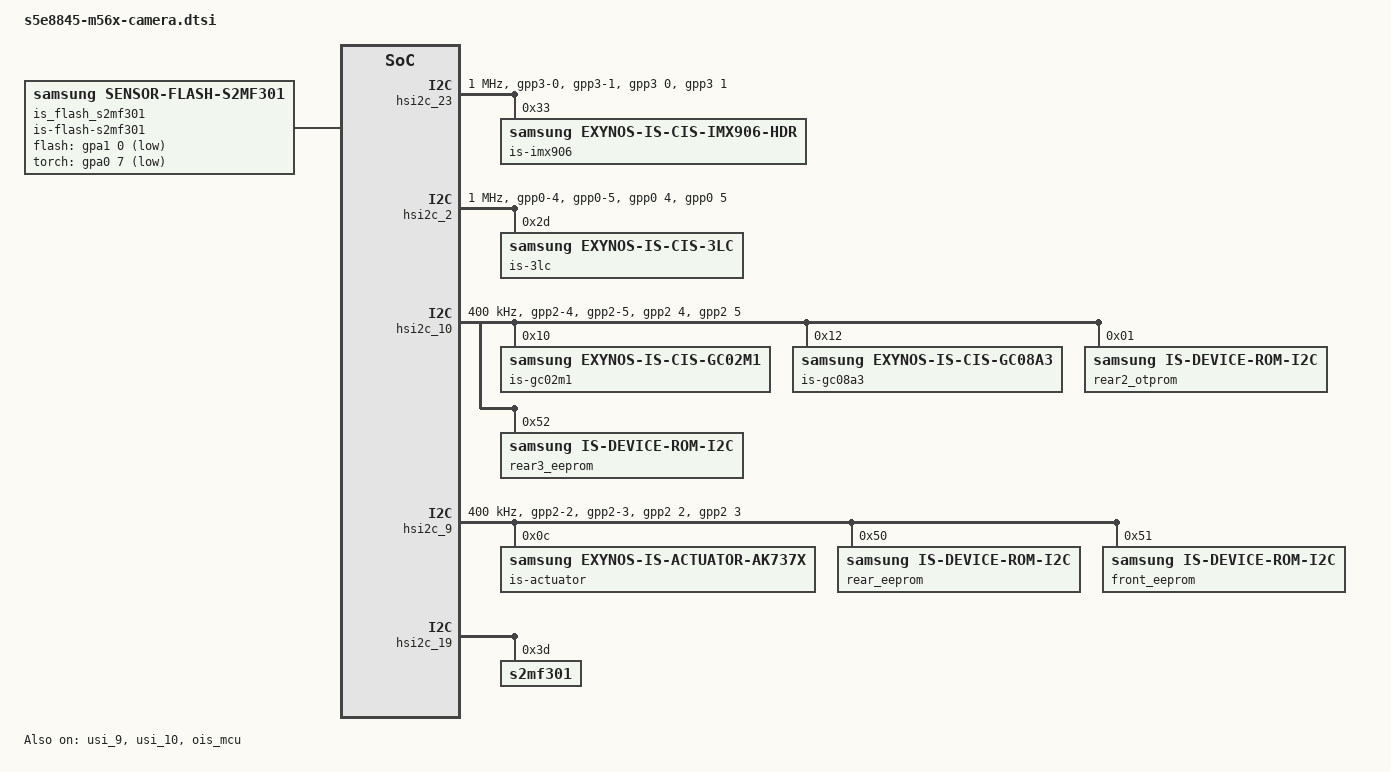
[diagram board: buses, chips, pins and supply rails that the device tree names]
/*
 * Samsung Exynos SoC series Pablo driver
 *
 * Copyright (c) 2024 Samsung Electronics Co., Ltd
 *
 * This program is free software; you can redistribute it and/or modify
 * it under the terms of the GNU General Public License version 2 as
 * published by the Free Software Foundation.
 */

#include <dt-bindings/camera/exynos_is_dt.h>
#include "module_imx906.dtsi" /* Wide CAMERA */
#include "module_3lc.dtsi" /* Front CAMERA */
#include "module_gc08a3.dtsi" /* Ultra Wide CAMERA */
#include "module_gc02m1.dtsi" /* Macro CAMERA */

/ {
	fragment@camera {
		target-path = "/";
		__overlay__ {
			#address-cells = <2>;
			#size-cells = <1>;
			interrupt-parent = <&gic>;

			/* Wide CAMERA */
			is_sensor_imx906: is_sensor_imx906@33 {
				pinning_setfile;
				power_seq {
					scenario_normal_on {
						20 { pname = "VDDIO_COMMON_1P8"; pin = <PIN_REGULATOR 1 1000>; share = <SRT_ACQUIRE SHARED_PIN0 1>;};
					};
					scenario_normal_off {
						110 { pname = "VDDIO_COMMON_1P8"; pin = <PIN_REGULATOR 0 500>; share = <SRT_RELEASE SHARED_PIN0 0>; };
					};
					scenario_vision_on {
						20 { pname = "VDDIO_COMMON_1P8"; pin = <PIN_REGULATOR 1 1000>; share = <SRT_ACQUIRE SHARED_PIN0 1>; };
					};
					scenario_vision_off {
						110 { pname = "VDDIO_COMMON_1P8"; pin = <PIN_REGULATOR 0 500>; share = <SRT_RELEASE SHARED_PIN0 0>; };
					};
					scenario_ois_factory_on {
						20 { pname = "VDDIO_COMMON_1P8"; pin = <PIN_REGULATOR 1 1000>; share = <SRT_ACQUIRE SHARED_PIN0 1>; };
					};
					scenario_ois_factory_off {
						110 { pname = "VDDIO_COMMON_1P8"; pin = <PIN_REGULATOR 0 500>; share = <SRT_RELEASE SHARED_PIN0 0>; };
					};
					scenario_read_rom_on {
						10 { pname = "VDDIO_COMMON_1P8"; pin = <PIN_REGULATOR 1 0>; share = <SRT_ACQUIRE SHARED_PIN0 1>;};
					};
					scenario_read_rom_off {
						20 { pname = "VDDIO_COMMON_1P8"; pin = <PIN_REGULATOR 0 0>; share = <SRT_RELEASE SHARED_PIN0 0>;};
					};
				};
			};

			/* FRONT CAMERA */
			is_sensor_3lc: is_sensor_3lc@5A {
				pinning_setfile;
				power_seq {
					scenario_normal_on {
						20 { pname = "VDDIO_COMMON_1P8"; pin = <PIN_REGULATOR 1 0>; share = <SRT_ACQUIRE SHARED_PIN0 1>; };
						30 { pname = "VDDA_COMMON_2P8_V"; pin = <PIN_REGULATOR 1 0>; share = <SRT_ACQUIRE SHARED_PIN1 1>;};
					};
					scenario_normal_off {
						80 { pname = "VDDA_COMMON_2P8_V"; pin = <PIN_REGULATOR 0 2000>; share = <SRT_RELEASE SHARED_PIN1 0>;};
						90 { pname = "VDDIO_COMMON_1P8"; pin = <PIN_REGULATOR 0 2000>; share = <SRT_RELEASE SHARED_PIN0 0>; };
					};
					scenario_vision_on {
						20 { pname = "VDDIO_COMMON_1P8"; pin = <PIN_REGULATOR 1 0>; share = <SRT_ACQUIRE SHARED_PIN0 1>; };
						30 { pname = "VDDA_COMMON_2P8_V"; pin = <PIN_REGULATOR 1 0>; share = <SRT_ACQUIRE SHARED_PIN1 1>;};
					};
					scenario_vision_off {
						80 { pname = "VDDA_COMMON_2P8_V"; pin = <PIN_REGULATOR 0 2000>; share = <SRT_RELEASE SHARED_PIN1 0>;};
						90 { pname = "VDDIO_COMMON_1P8"; pin = <PIN_REGULATOR 0 2000>; share = <SRT_RELEASE SHARED_PIN0 0>; };
					};
					scenario_read_rom_on {
						10 { pname = "VDDIO_COMMON_1P8"; pin = <PIN_REGULATOR 1 0>; share = <SRT_ACQUIRE SHARED_PIN0 1>; };
					};
					scenario_read_rom_off {
						20 { pname = "VDDIO_COMMON_1P8"; pin = <PIN_REGULATOR 0 0>; share = <SRT_RELEASE SHARED_PIN0 0>; };
					};
				};
			};

			/* UW CAMERA */
			is_sensor_gc08a3: is_sensor_gc08a3@24 {
				pinning_setfile;
				power_seq {
					scenario_normal_on {
						20 { pname = "VDDIO_COMMON_1P8"; pin = <PIN_REGULATOR 1 0>; share = <SRT_ACQUIRE SHARED_PIN0 1>; };
						40 { pname = "VDDA_COMMON_2P8_V"; pin = <PIN_REGULATOR 1 500>; share = <SRT_ACQUIRE SHARED_PIN1 1>; };
					};
					scenario_normal_off {
						80 { pname = "VDDA_COMMON_2P8_V"; pin = <PIN_REGULATOR 0 0>; share = <SRT_RELEASE SHARED_PIN1 0>; };
						100 { pname = "VDDIO_COMMON_1P8"; pin = <PIN_REGULATOR 0 0>; share = <SRT_RELEASE SHARED_PIN0 0>; };
					};
					scenario_vision_on {
						20 { pname = "VDDIO_COMMON_1P8"; pin = <PIN_REGULATOR 1 0>; share = <SRT_ACQUIRE SHARED_PIN0 1>; };
						40 { pname = "VDDA_COMMON_2P8_V"; pin = <PIN_REGULATOR 1 500>; share = <SRT_ACQUIRE SHARED_PIN1 1>; };
					};
					scenario_vision_off {
						80 { pname = "VDDA_COMMON_2P8_V"; pin = <PIN_REGULATOR 0 0>; share = <SRT_RELEASE SHARED_PIN1 0>; };
						100 { pname = "VDDIO_COMMON_1P8"; pin = <PIN_REGULATOR 0 0>; share = <SRT_RELEASE SHARED_PIN0 0>; };
					};
					scenario_read_rom_on {
						20 { pname = "VDDIO_COMMON_1P8"; pin = <PIN_REGULATOR 1 0>; share = <SRT_ACQUIRE SHARED_PIN0 1>; };
						40 { pname = "VDDA_COMMON_2P8_V"; pin = <PIN_REGULATOR 1 500>; share = <SRT_ACQUIRE SHARED_PIN1 1>; };
					};
					scenario_read_rom_off {
						80 { pname = "VDDA_COMMON_2P8_V"; pin = <PIN_REGULATOR 0 0>; share = <SRT_RELEASE SHARED_PIN1 0>; };
						100 { pname = "VDDIO_COMMON_1P8"; pin = <PIN_REGULATOR 0 0>; share = <SRT_RELEASE SHARED_PIN0 0>; };
					};
				};
			};

			/* MACRO CAMERA */
			is_sensor_gc02m1: is_sensor_gc02m1@20 {
				pinning_setfile;
				power_seq {
					scenario_normal_on {
						20 { pname = "VDDIO_COMMON_1P8"; pin = <PIN_REGULATOR 1 100>; share = <SRT_ACQUIRE SHARED_PIN0 1>; };
						30 { pname = "VDDA_COMMON_2P8_V"; pin = <PIN_REGULATOR 1 0>; share = <SRT_ACQUIRE SHARED_PIN1 1>;};
					};
					scenario_normal_off {
						70 { pname = "VDDA_COMMON_2P8_V"; pin = <PIN_REGULATOR 0 1000>; share = <SRT_RELEASE SHARED_PIN1 0>;};
						80 { pname = "VDDIO_COMMON_1P8"; pin = <PIN_REGULATOR 0 0>; share = <SRT_RELEASE SHARED_PIN0 0>; };
					};
					scenario_vision_on {
						20 { pname = "VDDIO_COMMON_1P8"; pin = <PIN_REGULATOR 1 100>; share = <SRT_ACQUIRE SHARED_PIN0 1>; };
						30 { pname = "VDDA_COMMON_2P8_V"; pin = <PIN_REGULATOR 1 0>; share = <SRT_ACQUIRE SHARED_PIN1 1>;};
					};
					scenario_vision_off {
						70 { pname = "VDDA_COMMON_2P8_V"; pin = <PIN_REGULATOR 0 1000>; share = <SRT_RELEASE SHARED_PIN1 0>;};
						80 { pname = "VDDIO_COMMON_1P8"; pin = <PIN_REGULATOR 0 0>; share = <SRT_RELEASE SHARED_PIN0 0>; };
					};
					scenario_read_rom_on {
						10 { pname = "VDDIO_COMMON_1P8"; pin = <PIN_REGULATOR 1 0>; share = <SRT_ACQUIRE SHARED_PIN0 1>; };
					};
					scenario_read_rom_off {
						20 { pname = "VDDIO_COMMON_1P8"; pin = <PIN_REGULATOR 0 0>; share = <SRT_RELEASE SHARED_PIN0 0>; };
					};
				};
			};

			/* OIS_MCU */
			ois_mcu: ois_mcu@0x152D0000 {
				compatible = "samsung,sensor-ois-mcu";
				reg = <0x0 0x152D0000 0x18000>, /* OIS MCU (SRAM 96KB) */
					<0x0 0x13920000 0x10000>, /* I2C: USI10_USI */
					<0x0 0x13910000 0x10000>, /* SPI: USI09_USI */
					<0x0 0x12B40000 0x1000>, /* PERI setting (GPIO_PERIC) */
					<0x0 0x152C0000 0x2000>; /* SFR */
				reg-names = "core", "i2c", "spi", "peri", "sfr";
				interrupts = <0 INTREQ__OIS_FROM_CM4 IRQ_TYPE_LEVEL_HIGH>;
				id = <0>;
				status = "okay";
				mcu_ctrl_actuator = <0>;
				ois_gyro_direction = <0x05 0x00 0x06>;

				power-domains = <&pd_csis>;
				clocks = <&clock GATE_OIS_MCU_TOP_QCH>, <&clock DOUT_DIV_CLK_PERIC_USI09_USI>;
				clock-names = "user_mux", "ipclk_spi";
			};

			dcphy_setfile_cphy_wide: dcphy-setfile-cphy_wide@00 {
				comm {
					/* bias */
					0  = <0x1000 0 32 0x00000010 IDX_BIA_VAL 0>; /* M_BIAS_CON0 */
					1  = <0x1004 0 32 0x00000110 IDX_BIA_VAL 0>; /* M_BIAS_CON1 */
					2  = <0x1008 0 32 0x00003223 IDX_BIA_VAL 0>; /* M_BIAS_CON2 */
					3  = <0x1010 0 32 0x00000240 IDX_BIA_VAL 0>; /* M_BIAS_CON4 */
				};

				lane {
					0  = <0x0004 0 32 0x00003C00 IDX_FIX_VAL 3>; /* SD_GNR_CON1 */
					1  = <0x0008 0 32 0x00000077 IDX_FIX_VAL 3>; /* SD_ANA_CON0 */
					2  = <0x000C 0 32 0x0000FA3A IDX_FIX_VAL 3>; /* SD_ANA_CON1 */
					3  = <0x0010 0 32 0x00000007 IDX_FIX_VAL 3>; /* SD_ANA_CON2 */
					4  = <0x0014 0 32 0x00008600 IDX_FIX_VAL 3>; /* SD_ANA_CON3 */
					5  = <0x0018 0 32 0x00004040 IDX_FIX_VAL 3>; /* SD_ANA_CON4 */
					6  = <0x001c 0 32 0x00000200 IDX_FIX_VAL 3>; /* SD_ANA_CON5 */
					7  = <0x0020 0 32 0x00000E08 IDX_FIX_VAL 3>; /* SD_ANA_CON6 */
					8  = <0x0024 0 32 0x00000040 IDX_FIX_VAL 3>; /* SD_ANA_CON7 */
					9  = <0x0030 0  8 0x00000000 IDX_FIX_VAL 3>; /* SD_TIME_CON0 : settle to Zero */
					10 = <0x0030 8  1 0x00000000 IDX_STL_CLK 3>; /* SD_TIME_CON0 */
					11 = <0x0034 0 32 0x00000034 IDX_FIX_VAL 3>; /* SD_TIME_CON1 */
					12 = <0x0040 0  1 0x00000000 IDX_SKW_CAL 3>; /* SD_DESKEW_CON0 */
					13 = <0x005C 0 32 0x00001000 IDX_FIX_VAL 3>; /* SD_CRC_DLY_CON0 */
					14 = <0x0064 0 32 0x00001501 IDX_FIX_VAL 3>; /* SD_CRC_CON1 */
					15 = <0x0068 0 32 0x00000003 IDX_FIX_VAL 3>; /* SD_CRC_CON2 */
					16 = <0x009C 0 32 0x00000080 IDX_FIX_VAL 3>; /* SD_CRC_DLY_CON3 */
					/* Enable should be set at last. */
					17 = <0x0000 0 32 0x00000001 IDX_FIX_VAL 3>; /* SD_GNR_CON0 , Phy data enable */
				};
			};

			dphy_setfile_vt: dphy-setfile_vt@00 {
				comm {
					/* bias */
					0  = <0x1000 0 32 0x00000010 IDX_BIA_VAL 0>; /* M_BIAS_CON0 */
					1  = <0x1004 0 32 0x00000110 IDX_BIA_VAL 0>; /* M_BIAS_CON1 */
					2  = <0x1008 0 32 0x00003223 IDX_BIA_VAL 0>; /* M_BIAS_CON2 */
					3  = <0x1010 0 32 0x00000200 IDX_BIA_VAL 0>; /* M_BIAS_CON4 */

					/* Clock lane */
					4 = <0x0004 0 32 0x00003C00 IDX_FIX_VAL 0>; /* SC_GNR_CON1 */
					5 = <0x0008 0 32 0x00000007 IDX_FIX_VAL 0>; /* SC_ANA_CON0 */
					6 = <0x000C 0 32 0x0000F400 IDX_FIX_VAL 0>; /* SC_ANA_CON1 */
					7 = <0x0010 0 32 0x00000003 IDX_FIX_VAL 0>; /* SC_ANA_CON2 */
					8 = <0x0014 0 32 0x00008600 IDX_FIX_VAL 0>; /* SC_ANA_CON3 */
					9 = <0x0018 0 32 0x00004000 IDX_FIX_VAL 0>; /* SC_ANA_CON4 */
					10 = <0x0030 0 32 0x00000712 IDX_FIX_VAL 0>; /* SC_TIME_CON0 */

					/* Enable should be set at last */
					11 = <0x0000 0 32 0x00000001 IDX_FIX_VAL 0>; /* SC_GNR_CON0 */
				};

				lane {
					0  = <0x0004 0 32 0x00003C00 IDX_FIX_VAL 4>; /* SD_GNR_CON1 */
					1  = <0x0008 0 32 0x00000007 IDX_FIX_VAL 4>; /* SD_ANA_CON0 */
					2  = <0x000C 0 32 0x0000F400 IDX_FIX_VAL 4>; /* SD_ANA_CON1 */
					3  = <0x0010 0 32 0x00000003 IDX_FIX_VAL 4>; /* SD_ANA_CON2 */
					4  = <0x0010 8  2 0x00000000 IDX_SKW_DLY 4>; /* SD_ANA_CON2 */
					5  = <0x0014 0 32 0x00008600 IDX_FIX_VAL 4>; /* SD_ANA_CON3 */
					6  = <0x0018 0 32 0x00002000 IDX_FIX_VAL 4>; /* SD_ANA_CON4 */
					7  = <0x0030 0  8 0x00000000 IDX_STL_VAL 4>; /* SD_TIME_CON0 */
					8  = <0x0030 8  1 0x00000000 IDX_STL_CLK 4>; /* SD_TIME_CON0 */
					9  = <0x0034 0 32 0x00000003 IDX_FIX_VAL 4>; /* SD_TIME_CON1 */
					10 = <0x0040 0  1 0x00000001 IDX_SKW_CAL 4>; /* SD_DESKEW_CON0 */
					11 = <0x0050 0 32 0x0000081A IDX_FIX_VAL 4>; /* SD_DESKEW_CON4 */

					/* Enable should be set at last */
					12 = <0x0000 0 32 0x00000001 IDX_FIX_VAL 4>;/* SD_GNR_CON0 */
				};
			};

			/* REAR CAMERA */
			is_sensor0: is_sensor0@15030000 {
				reg = <0x0 0x15050000 0x1000>, /* MIPI-CSI2 */
					<0x0 0x150F0000 0x10000>, /* PHY: M0S4S4S4S4S4S2 */
					<0x0 0x150B022C 0x10>, /* CSIS_FRO */
					<0x0 0x150B0254 0x10>; /* CSIS 5x3 OTF_OUT MUX */
				scenario = <SENSOR_SCENARIO_NORMAL>;    /* Normal, Vision, OIS etc */
				id = <0>;    /* VIDEO_SS0 */
				csi_ch = <2>; /* CSI2 */
				status = "okay";
				interrupts = <0 INTREQ__CSIS2 IRQ_TYPE_LEVEL_HIGH>; /* MIPI-CSI2 */
				interrupt-names = "csi";
				use_cphy = <1>;

				phys = <&mipi_phy_csis2_m0s4s4s4s4_s22 0>;
				phy_setfile = <&dcphy_setfile_cphy_wide>;
				phy_tune_default_mode = "4080 3060 30 0 1";
			};

			/* FRONT CAMERA */
			is_sensor1: is_sensor1@15040000 {
				reg = <0x0 0x15030000 0x1000>, /* MIPI-CSI0 */
					<0x0 0x150F0000 0x10000>, /* PHY: M0S4S4S4_S22 */
					<0x0 0x150B022C 0x10>, /* CSIS_FRO */
					<0x0 0x150B0254 0x10>; /* CSIS 5x3 OTF_OUT MUX */
				scenario = <SENSOR_SCENARIO_NORMAL>;    /* Normal, Vision, OIS etc */
				id = <1>;
				csi_ch = <0>; /* CSI0 */
				status = "okay";
				interrupts = <0 INTREQ__CSIS0 IRQ_TYPE_LEVEL_HIGH>; /* MIPI-CSI0 */
				interrupt-names = "csi";
				use_cphy = <0>;

				phys = <&mipi_phy_csis0_m0s4s4s4s4_s22 0>;
				phy_setfile = <&dphy_setfile_vt>;
				phy_tune_default_mode = "4000 3000 30";
			};

			/* UW CAMERA */
			is_sensor2: is_sensor2@15050000 {
				reg = <0x0 0x15040000 0x1000>, /* MIPI-CSI1 */
					<0x0 0x150F0000 0x10000>, /* PHY: M0S4S4S4_S22 */
					<0x0 0x150B022C 0x10>, /* CSIS_FRO */
					<0x0 0x150B0254 0x10>; /* CSIS 5x3 OTF_OUT MUX */
				scenario = <SENSOR_SCENARIO_NORMAL>;    /* Normal, Vision, OIS etc */
				id = <2>;
				csi_ch = <1>;
				status = "okay";
				use_cphy = <0>;

				interrupts = <0 INTREQ__CSIS1 IRQ_TYPE_LEVEL_HIGH>; /* MIPI-CSI1 */
				phys = <&mipi_phy_csis1_m0s4s4s4s4_s22 0>;
				phy_setfile = <&dphy_setfile>;
				phy_tune_default_mode = "3264 2448 30";
			};

			is_sensor3: is_sensor3@15060000 {
				status = "disabled";
			};

			/* MACRO CAMERA */
			is_sensor4: is_sensor4@15070000 {
				reg = <0x0 0x15070000 0x1000>, /* MIPI-CSI4 */
					<0x0 0x150F0000 0x10000>, /* PHY: M0S4S4S4S4S4S2 */
					<0x0 0x150B022C 0x10>, /* CSIS_FRO */
					<0x0 0x150B0254 0x10>; /* CSIS 5x3 OTF_OUT MUX */
				scenario = <SENSOR_SCENARIO_NORMAL>;    /* Normal, Vision, OIS etc */
				id = <3>;
				csi_ch = <4>;
				status = "okay";
				use_cphy = <0>;

				interrupts = <0 INTREQ__CSIS4 IRQ_TYPE_LEVEL_HIGH>; /* MIPI-CSI4 */
				phys = <&mipi_phy_csis4_m0s4s4s4s4_s22 0>;
				phy_setfile = <&dphy_setfile_2lane>;
				phy_tune_default_mode = "1600 1200 30";
			};

			is_flash_s2mf301: is-flash-s2mf301@0 {
				compatible = "samsung,sensor-flash-s2mf301";
				sensor-module = <&is_sensor_imx906>,<&is_sensor_gc02m1>;
				id = <0 3>;
				led_ch = <1>;
				status = "okay";
				flash-gpio = <&gpa1 0 0x1>;
				torch-gpio = <&gpa0 7 0x1>;
			};

			exynos_isp_cpu: icpu@15910000 {
				firmware{
					heap{
						heap-name = "camera"; /* use camera heap */
					};
				};
			};
		}; /* end of __overlay__ */
	}; /* end of fragment */
}; /* end of root */

/***** reference symbol node *****/
/* Ois setting */
&usi_9 {
	usi_v2_mode = "spi";
	status = "okay";
};

&usi_10 {
	usi_v2_mode = "i2c";
	status = "okay";
};

/*
 * [Pin control reference]
 * samsung,pin-function = <0: Input, 1: Output, 2~3: Func>;
 * samsung,pin-pud = <0: NP, 1: PD, 3: PU(2KOhm), 5: PU(0.8KOhm)>;
 * samsung,pin-drv = <0: x1, 1: x2, 2: x3, 3: x4>;
 * samsung,pin-con-pdn = <0: Output0, 1: Output1, 2: Input, 3:Prev>;
 * samsung,pin-pud-pdn = <0: NP, 1: PD, 3: PU>;
 */

/* GPIO_PERI */
&pinctrl_5 {
	/* REAR WIDE */
	hsi2c23_bus: hsi2c23-bus {
		samsung,pins = "gpp3-0", "gpp3-1";
		samsung,pin-function = <2>;
		samsung,pin-pud = <5>;
		samsung,pin-drv = <0>;
	};

	hsi2c23_bus_in: hsi2c23-bus-in {
		samsung,pins = "gpp3-0", "gpp3-1";
		samsung,pin-function = <0>;
		samsung,pin-pud = <5>;
		samsung,pin-drv = <0>;
		samsung,pin-con-pdn = <2>;
		samsung,pin-pud-pdn = <5>;
	};
};

&pinctrl_3 {
	/* FRONT */
	hsi2c2_bus: hsi2c2-bus {
		samsung,pins = "gpp0-4", "gpp0-5";
		samsung,pin-function = <2>;
		samsung,pin-pud = <5>;
		samsung,pin-drv = <0>;
	};

	hsi2c2_bus_in: hsi2c2-bus-in {
		samsung,pins = "gpp0-4", "gpp0-5";
		samsung,pin-function = <0>;
		samsung,pin-pud = <5>;
		samsung,pin-drv = <0>;
		samsung,pin-con-pdn = <2>;
		samsung,pin-pud-pdn = <5>;
	};

	/*ULTRA WIDE + MACRO */
	hsi2c10_bus: hsi2c10-bus {
		samsung,pins = "gpp2-4", "gpp2-5";
		samsung,pin-function = <2>;
		samsung,pin-pud = <3>;
		samsung,pin-drv = <0>;
	};

	hsi2c10_bus_in: hsi2c10-bus-in {
		samsung,pins = "gpp2-4", "gpp2-5";
		samsung,pin-function = <0>;
		samsung,pin-pud = <3>;
		samsung,pin-drv = <0>;
		samsung,pin-con-pdn = <2>;
		samsung,pin-pud-pdn = <3>;
	};

	/* AF-EEPROM hsi2c */
	hsi2c9_bus: hsi2c9-bus {
		samsung,pins = "gpp2-2", "gpp2-3";
		samsung,pin-function = <3>;
		samsung,pin-pud = <3>;
		samsung,pin-drv = <0>;
	};

	hsi2c9_bus_in: hsi2c9-bus-in {
		samsung,pins = "gpp2-2", "gpp2-3";
		samsung,pin-function = <0>;
		samsung,pin-pud = <3>;
		samsung,pin-drv = <0>;
		samsung,pin-con-pdn = <2>;
		samsung,pin-pud-pdn = <3>;
	};

	ois_spi_miso_cs: ois-spi-miso-cs {
		samsung,pins = "gpp1-6", "gpp1-7";
		samsung,pin-pud = <0>;
		samsung,pin-con-pdn = <0>;
		samsung,pin-pud-pdn = <0>;
	};
};

&hsi2c_23 {
	#address-cells = <1>;
	#size-cells = <0>;
	gpios = <&gpp3 0 0 &gpp3 1 0>;
	status = "okay";
	clock-frequency = <1000000>;
	samsung,reset-before-trans;
	samsung,fast-plus-mode;

	pinctrl-names = "default","on_i2c","off_i2c";
	pinctrl-0 = <&hsi2c23_bus_in>;
	pinctrl-1 = <&hsi2c23_bus>;
	pinctrl-2 = <&hsi2c23_bus_in>;

	is-imx906@33 {
		compatible = "samsung,exynos-is-cis-imx906-hdr";
		sensor-module = <&is_sensor_imx906>;
		reg = <0x33>; /* 1 bit right shift */
		id = <0>; /* matching is_sensor id */
		setfile = "setA";
		rev_reg = <0x0018 1 0x02>;
		sensor_f_number = <180>;	/* f number 1.8 */
		vendor_use_adaptive_mipi;
	};
};

&hsi2c_2 {
	#address-cells = <1>;
	#size-cells = <0>;
	gpios = <&gpp0 4 0 &gpp0 5 0>;
	status = "okay";
	clock-frequency = <1000000>;
	samsung,reset-before-trans;
	samsung,fast-plus-mode;

	pinctrl-names = "default","on_i2c","off_i2c";
	pinctrl-0 = <&hsi2c2_bus_in>;
	pinctrl-1 = <&hsi2c2_bus>;
	pinctrl-2 = <&hsi2c2_bus_in>;

	is-3lc@5A {
		compatible = "samsung,exynos-is-cis-3lc";
		sensor-module = <&is_sensor_3lc>;
		reg = <0x2D>; /* 1 bit right shift */
		id = <1>; /* matching is_sensor id */
		setfile = "setA";
		rev_reg = <0x0002 1 0xA0>;
		vendor_use_adaptive_mipi;
	};
};

&hsi2c_10 {
	#address-cells = <1>;
	#size-cells = <0>;
	gpios = <&gpp2 4 0 &gpp2 5 0>;
	status = "okay";
	clock-frequency = <400000>;
	samsung,reset-before-trans;

	pinctrl-names = "default","on_i2c","off_i2c";
	pinctrl-0 = <&hsi2c10_bus_in>;
	pinctrl-1 = <&hsi2c10_bus>;
	pinctrl-2 = <&hsi2c10_bus_in>;

	is-gc02m1@20 {
		compatible = "samsung,exynos-is-cis-gc02m1";
		sensor-module = <&is_sensor_gc02m1>;
		reg = <0x10>; /* 1 bit right shift */
		id = <3>; /* matching is_sensor id */
		orientation = <3>;
		setfile = "setA";
		rev_reg = <0xF0 2 0x02E0>;
		sensor_f_number = <180>;	/* f number 1.8 */
	};

	is-gc08a3@24 {
		compatible = "samsung,exynos-is-cis-gc08a3";
		sensor-module = <&is_sensor_gc08a3>;
		reg = <0x12>; /* 1 bit right shift */
		id = <2>; /* matching is_sensor id */
		setfile = "setA";
		status = "okay";
		rev_reg = <0x03f0 2 0x08A3>;
		sensor_f_number = <180>;	/* f number 1.8 */
		vendor_use_adaptive_mipi;
	};

	rear2_otprom@12 { /* UW otprom */
		compatible = "samsung,is-device-rom-i2c";
		reg = <0x01>;

		rom_id = <2>; /* ROM_ID_REAR2 */
		rom_type = <3>; /* ROM_TYPE_OTPROM */
		rom_power_position = <4>;
		rom_size = <0x1D00>;
		cal_map_es_version = <1>;
		camera_module_es_version = "A";
		/* skip_cal_loading;*/

		/* 20241010_M56_5G_CAM1(UW_8M_GC08A3)_OTP_Rear_Cal map V008.001_QC_LSI_MTK_Common_Map.xlsx */
		header_crc_check_list = <0x0000 0x004D 0x004E>;
		/* 0 module */
		crc_check_list = <0x0052 0x045F 0x0460>;
		/* Master */
		rom_header_version_start_addr = <0x0008>;
		rom_header_cal_data_start_addr = <0x0052>;
		rom_header_cal_map_ver_start_addr = <0x0014>;
		rom_header_project_name_start_addr = <0x1C>;
		rom_header_module_id_addr = <0x0032>; /* 0x002C + reserved bytes */
		rom_header_sensor_id_addr = <0x003C>;
		rom_header_mtf_data_addr = <0x464>; /* Resolution Data */
		rom_awb_master_addr = <0x005C>;

		/* standard cal */
		use_standard_cal;
		rom_standard_cal_start_addr = <0x005C>;
		rom_standard_cal_end_addr = <0x045E>;
		rom_standard_cal_sec2lsi_end_addr = <0x1A57>;
		rom_awb_start_addr = <0x005C>;
		rom_awb_end_addr = <0x0063>;
		rom_shading_start_addr = <0x0066>;
		rom_shading_end_addr = <0x045E>;
		rom_factory_start_addr = <0x0464>;
		rom_factory_end_addr = <0x069B>;
		rom_awb_sec2lsi_start_addr = <0x005C>;
		rom_awb_sec2lsi_end_addr = <0x0063>;
		rom_awb_sec2lsi_checksum_addr = <0x0068>;
		rom_awb_sec2lsi_checksum_len = <0x000C>;
		rom_shading_sec2lsi_start_addr = <0x006C>;
		rom_shading_sec2lsi_end_addr = <0x1A53>;
		rom_shading_sec2lsi_checksum_addr = <0x1A58>;
		rom_shading_sec2lsi_checksum_len = <0x19EC>;
		rom_factory_sec2lsi_start_addr = <0x1A5C>;
	};

	rear3_eeprom@52 { /* macro */
		compatible = "samsung,is-device-rom-i2c";
		reg = <0x52>;
		rom_id = <4>; /* ROM_ID_REAR3 */
		rom_type = <2>; /* ROM_TYPE_EEPROM */
		rom_power_position = <6>;
		need_i2c_config;
		rom_size = <0x2000>;
		cal_map_es_version = <1>;
		camera_module_es_version = "A";
		/* ignore_cal_crc_error; */
		/* skip_cal_loading; */

		/* 20240415_A16_5G_CAM3(Macro_2M_GC02M10-Y0)_EEPROM_Rear_Cal map V008.001_QC_LSI_MTK_Common_Map */
		/* 0 header */
		header_crc_check_list = <0x0000 0x00FB 0x00FC>;
		/* 0 module */
		crc_check_list = < 0x0100 0x010B 0x010C
							0x0110 0x011B 0x011C
							0x0120 0x051B 0x051C
						 >;
		/* Master */
		rom_header_version_start_addr = <0x5E>;
		rom_header_cal_data_start_addr = <0x00>;
		rom_header_cal_map_ver_start_addr = <0x88>;
		rom_header_project_name_start_addr = <0x90>;
		rom_header_module_id_addr = <0xAE>;
		rom_header_sensor_id_addr = <0xB8>;
		rom_awb_master_addr = <0x110>;

		/* standard cal */
		use_standard_cal;
		rom_standard_cal_start_addr = <0x110>;
		rom_standard_cal_end_addr = <0x0759>;
		rom_standard_cal_sec2lsi_end_addr = <0x1D49>;
		rom_awb_start_addr = <0x0110>;
		rom_awb_end_addr = <0x0117>;
		rom_shading_start_addr = <0x0120>;
		rom_shading_end_addr = <0x0518>;
		rom_awb_sec2lsi_start_addr = <0x0110>;
		rom_awb_sec2lsi_end_addr = <0x0117>;
		rom_awb_sec2lsi_checksum_addr = <0x011C>;
		rom_awb_sec2lsi_checksum_len = <0xC>;
		rom_shading_sec2lsi_start_addr = <0x0120>;
		rom_shading_sec2lsi_end_addr = <0x1B07>;
		rom_shading_sec2lsi_checksum_addr = <0x1B0C>;
		rom_shading_sec2lsi_checksum_len = <0x19EC>;
	};
};

&hsi2c_9 {
	#address-cells = <1>;
	#size-cells = <0>;
	gpios = <&gpp2 2 0 &gpp2 3 0>;
	status = "okay";
	clock-frequency = <400000>;
	samsung,reset-before-trans;

	pinctrl-names = "default","on_i2c","off_i2c";
	pinctrl-0 = <&hsi2c9_bus_in>;
	pinctrl-1 = <&hsi2c9_bus>;
	pinctrl-2 = <&hsi2c9_bus_in>;

	is-actuator@0C { /* wide AF */
		compatible = "samsung,exynos-is-actuator-ak737x";
		sensor-module = <&is_sensor_imx906>;
		reg = <0x0C>;
		id = <0>; /* matching is_sensor id */
		/* AK7314: addr 0xF3, data 0x19 */
		vendor_product_id = <0xF3 0x13 0xF3 0x19>;
		vendor_first_pos = <2000>;  /* 12bits */
		vendor_first_delay = <2000>;
		vendor_soft_landing_seqid = <3>;
		vendor_soft_landing_list = <640 30 64 30>; /* 1st_pos delay 2nd_pos delay */
		vendor_use_sleep_mode;
		vendor_use_standby_mode; /* AK7314 with vendor_use_sleep_mode */
		/* delay settings for AK7314 */
		vendor_sleep_to_standby_delay = <2200>;
		vendor_active_to_standby_delay = <300>;
	};

	rear_eeprom@A0 {
		compatible = "samsung,is-device-rom-i2c";
		reg = <0x50>;

		rom_id = <0>; /* ROM_ID_REAR */
		rom_type = <2>; /* ROM_TYPE_EEPROM */
		rom_power_position = <0>;
		rom_size = <0x8000>;
		sensor_name_addr = <0x00A0>;
		cal_map_es_version = <1>;
		camera_module_es_version = "A";
		need_i2c_config;
		/* ignore_cal_crc_error; */
		/* skip_cal_loading; */

		/* 20241010_M56_5G_CAM1(Wide_50M_IMX906)_EEPROM_Rear_Cal map V008.001_QC_LSI_MTK_Common_Map */
		/* 0 header */
		header_crc_check_list = <0x0000 0x00FB 0x00FC>;
		/* 0 LSI Wide LSC data */
		/* 1 Wide camera */
		/* 2 ATC data */
		/* 3 Tele camera */
		/* 4 Sensor */
		crc_check_list = <
				0x0100 0x013B 0x013C
				0x0140 0x019B 0x019C
				0x01A0 0x0F2B 0x0F2C
				0x0F80 0x183B 0x183C
				0x1840 0x188B 0x188C
				0x1890 0x21BB 0x21BC
				0x2C50 0x2C6B 0x2C6C
				0x2C70 0x306B 0x306C
			>;

		/* Master */
		rom_header_version_start_addr = <0x6E>;
		rom_header_cal_data_start_addr = <0x0100>;
		rom_header_cal_map_ver_start_addr = <0x90>;
		rom_header_isp_setfile_ver_start_addr = <0x71>;
		rom_header_project_name_start_addr = <0x98>;
		rom_header_module_id_addr = <0xB6>; /* 0xB0 + reserved bytes */
		rom_header_sensor_id_addr = <0xC0>;
		rom_paf_cal_start_addr = <0x1890>;
		rom_awb_master_addr = <0x2C50>;
		/* Near Far Mid1 ... Mid7 */
		rom_af_cal_addr = <0x184C 0x1840>;
		rom_header_mtf_data_addr = <0x3070>; /* Resolution Data */

		/* sensor cal data : Crosstalk Cal data */
		rom_xtc_cal_data_start_addr = <0x01A0>; /* qsc cal */
		rom_xtc_cal_data_size = <3072>;

		/* standard cal */
		use_standard_cal;
		rom_standard_cal_start_addr = <0x2C50>;
		rom_standard_cal_end_addr = <0x32A9>;
		rom_standard_cal_sec2lsi_end_addr = <0x4889>;
		rom_awb_start_addr = <0x2C50>;
		rom_awb_end_addr = <0x2C57>;
		rom_shading_start_addr = <0x2C70>;
		rom_shading_end_addr = <0x3068>;
		rom_awb_sec2lsi_start_addr = <0x2C50>;
		rom_awb_sec2lsi_end_addr = <0x2C57>;
		rom_awb_sec2lsi_checksum_addr = <0x2C5C>;
		rom_awb_sec2lsi_checksum_len = <0xC>;
		rom_shading_sec2lsi_start_addr = <0x2C60>;
		rom_shading_sec2lsi_end_addr = <0x4647>;
		rom_shading_sec2lsi_checksum_addr = <0x464C>;
		rom_shading_sec2lsi_checksum_len = <0x19EC>;
		rom_factory_start_addr = <0x3070>;
		rom_factory_end_addr = <0x32A9>;
		rom_factory_sec2lsi_start_addr = <0x4650>;

		/* sensor ois - xgg ygg xcoef ycoef xsupper ysupper calmark */
		rom_ois_list = <0x0150 0x0154 0x015C 0x015E 0x0178 0x017A 0x0170>;
	};

	front_eeprom@51 {
		compatible = "samsung,is-device-rom-i2c";
		reg = <0x51>;

		rom_id = <1>; /* ROM_ID_FRONT */
		rom_type = <2>; /* ROM_TYPE_EEPROM */
		rom_power_position = <1>;
		need_i2c_config;
		rom_size = <0x4000>;
		cal_map_es_version = <1>;
		camera_module_es_version = "A";
		/* ignore_cal_crc_error; */
		/* skip_cal_loading; */

		/* 20241010_M56_5G_CAM1(Front_12M_3LC)_EEPROM_Front_Cal map V008.001_QC_LSI_MTK_Common_Map */
		/* 0 header */
		header_crc_check_list = <0x0000 0x0051 0x0052>;
		/* 0 master */
		crc_check_list = <
			0x0056 0x0477 0x0478
		>;

		rom_header_cal_data_start_addr = <0x00>;
		rom_header_version_start_addr = <0x0A>;
		rom_header_cal_map_ver_start_addr = <0x16>;
		rom_header_project_name_start_addr = <0x1E>;
		rom_header_module_id_addr = <0x36>; /* 0x30 + reserved bytes */
		rom_header_sensor_id_addr = <0x40>;
		rom_header_mtf_data_addr = <0x47C>; /* Resolution Data */
		rom_awb_master_addr = <0x64>;

		/* standard cal */
		use_standard_cal;
		rom_standard_cal_start_addr = <0x64>;
		rom_standard_cal_end_addr = <0x047B>;
		rom_standard_cal_sec2lsi_end_addr = <0x1A63>;
		rom_awb_start_addr = <0x64>;
		rom_awb_end_addr = <0x6B>;
		rom_shading_start_addr = <0x6E>;
		rom_shading_end_addr = <0x0466>;
		rom_factory_start_addr = <0x047C>;
		rom_factory_end_addr = <0x06B5>;
		rom_awb_sec2lsi_start_addr = <0x64>;
		rom_awb_sec2lsi_end_addr = <0x6B>;
		rom_awb_sec2lsi_checksum_addr = <0x70>;
		rom_awb_sec2lsi_checksum_len = <0xC>;
		rom_shading_sec2lsi_start_addr = <0x74>;
		rom_shading_sec2lsi_end_addr = <0x1A5B>;
		rom_shading_sec2lsi_checksum_addr = <0x1A60>;
		rom_shading_sec2lsi_checksum_len = <0x19EC>;
		rom_factory_sec2lsi_start_addr = <0x1A64>;
	};
};

/* FLASH-LED: LEDS-S2MF301 */
&hsi2c_19 {
	s2mf301@3D {
		reg = <0x3D>;
		flash_led {
			default_current = <50>;
			max_current = <200>;
			default_timer = <0>;
			flash-gpio = <&gpa1 0 0x1>;
			torch-gpio = <&gpa0 7 0x1>;
			flash_current = <1250>;
			preflash_current = <150>;
			torch_current = <50>;
			movie_current = <150>;
			factory_torch_current = <150>;
			factory_flash_current = <150>;
			flashlight_current = <50 80 130 180 230>;
			status = "okay";
		};
	};
};

&exynos_is {
	pinctrl-names = "default";
	pinctrl-0 = <&ois_spi_miso_cs>;

	vendor {
		use_module_check;
		check_sensor_vendor;
		eeprom_on_delay = <20>;
		ois_sensor_index = <0>;
		mcu_sensor_index = <0>;
		//skip_cal_loading;

		is_vendor_sensor_count = <4>;
		max_supported_camera = <4>;
		supported_cameraId = <56 1 58 60>;

		/*
		* Wide(0)
		* Front(1)
		* U Wide(2)
		* Front 80(3) - not available for factory
		* Front Secure(5) - not available for factory
		* DUAL_REAR_PORTRAIT_WIDE(23)
		* Bokeh(52)
		* Rear_Wide(56)
		* Rear_UW(58)
		* Macro(60)
		*/

		/* count of using camera info */
		max_camera_num = <5>;

		/*
		 * sensor position by HAL
		 * 0: Wide
		 * 1: Front
		 * 2: Tele or Bokeh
		 * 4: UW
		 * 6: Macro or Ultra Tele
		 */
		sensor_id { /* sensor position = <sensor_id> */
			0 = <132>;	/* IMX906 */
			1 = <79>;	/* 3LC */
			4 = <219>;	/* GC08A3 */
			6 = <214>;	/* GC02M1 */
		};

		sensor_name { /* position = "name" */
			0 = "IMX906";
			1 = "S5K3LC";
			4 = "GC08A3";
			6 = "GC02M1";
		};

		camera_info0 {			/* 0 : sysfs rear */
			position = <0>;		/* 0 : wide */
			valid = <1>;		/* 0 : INVALID, 1 : VALID */
		};
		camera_info1 {			/* 1 : sysfs front */
			position = <1>;		/* 1 : front master */
			valid = <1>;		/* 0 : INVALID, 1 : VALID */
		};
		camera_info2 {			/* 2 : sysfs rear2 */
			position = <4>;		/* 4 : ultra wide */
			valid = <1>;		/* 0 : INVALID, 1 : VALID */
		};
		camera_info3 {			/* 3 : sysfs front2 */
			valid = <0>;		/* 0 : INVALID, 1 : VALID */
		};
		camera_info4 {			/* 4 : sysfs rear3 */
			position = <6>;		/* 6 : macro */
			valid = <1>;		/* 0 : INVALID, 1 : VALID */
		};

		sysfs {
			rear_afcal;
			rear_dualcal;

			rear2;
			rear2_moduleid;

			rear3;
			rear3_moduleid;

			front_fixed_focus;
		};
	};

	is_dvfs {
		table0 {
			desc = "dvfs table v0.2";

			default_int_cam = <1>;
			default_cam = <1>;
			default_csis = <1>;
			default_isp = <1>;
			default_mif = <1>;
			default_icpu = <0>;

			rear_single_photo_isp = <6>;
			rear_single_photo_int_cam = <4>;
			rear_single_photo_mif = <8>;
			rear_single_photo_icpu = <1>;

			rear_single_photo_full_isp = <5>;
			rear_single_photo_full_int_cam = <3>;
			rear_single_photo_full_mif = <7>;
			rear_single_photo_full_icpu = <1>;

			rear_single_video_fhd30_isp = <6>;
			rear_single_video_fhd30_int_cam = <4>;
			rear_single_video_fhd30_mif = <8>;
			rear_single_video_fhd30_icpu = <1>;

			rear_single_video_fhd30_supersteady_isp = <4>;
			rear_single_video_fhd30_supersteady_int_cam = <3>;
			rear_single_video_fhd30_supersteady_mif = <7>;
			rear_single_video_fhd30_supersteady_icpu = <0>;

			rear_single_video_fhd60_isp = <6>;
			rear_single_video_fhd60_int_cam = <4>;
			rear_single_video_fhd60_mif = <4>;
			rear_single_video_fhd60_icpu = <1>;

			rear_single_video_fhd60_supersteady_isp = <4>;
			rear_single_video_fhd60_supersteady_int_cam = <3>;
			rear_single_video_fhd60_supersteady_mif = <3>;
			rear_single_video_fhd60_supersteady_icpu = <1>;

			rear_single_video_uhd30_isp = <5>;
			rear_single_video_uhd30_int_cam = <4>;
			rear_single_video_uhd30_mif = <5>;
			rear_single_video_uhd30_icpu = <1>;

			rear_single_video_uhd30_hf_isp = <5>;
			rear_single_video_uhd30_hf_int_cam = <4>;
			rear_single_video_uhd30_hf_mif = <5>;
			rear_single_video_uhd30_hf_icpu = <1>;

			rear_single_video_uhd60_isp = <3>;
			rear_single_video_uhd60_int_cam = <4>;
			rear_single_video_uhd60_mif = <2>;
			rear_single_video_uhd60_icpu = <1>;

			rear_single_video_uhd60_hf_isp = <3>;
			rear_single_video_uhd60_hf_int_cam = <4>;
			rear_single_video_uhd60_hf_mif = <2>;
			rear_single_video_uhd60_hf_icpu = <1>;

			rear_single_capture_cam = <0>;
			rear_single_capture_isp = <0>;
			rear_single_capture_int_cam = <4>;
			rear_single_capture_mif = <0>;
			rear_single_capture_icpu = <1>;

			rear_single_video_fhd120_isp = <5>;
			rear_single_video_fhd120_int_cam = <4>;
			rear_single_video_fhd120_mif = <5>;
			rear_single_video_fhd120_icpu = <1>;

			rear_single_video_hd30_isp = <6>;
			rear_single_video_hd30_int_cam = <4>;
			rear_single_video_hd30_mif = <8>;
			rear_single_video_hd30_icpu = <1>;

			rear_single_video_hd120_isp = <5>;
			rear_single_video_hd120_int_cam = <4>;
			rear_single_video_hd120_mif = <5>;
			rear_single_video_hd120_icpu = <1>;

			rear_single_video_hd240_isp = <5>;
			rear_single_video_hd240_int_cam = <4>;
			rear_single_video_hd240_mif = <5>;
			rear_single_video_hd240_icpu = <1>;

			rear_single_ssm_isp = <5>;
			rear_single_ssm_int_cam = <4>;
			rear_single_ssm_mif = <5>;
			rear_single_ssm_icpu = <1>;

			rear_single_remosaic_photo_isp = <0>;
			rear_single_remosaic_photo_int_cam = <4>;
			rear_single_remosaic_photo_mif = <0>;
			rear_single_remosaic_photo_icpu = <1>;

			rear_single_remosaic_capture_cam = <0>;
			rear_single_remosaic_capture_isp = <0>;
			rear_single_remosaic_capture_int_cam = <4>;
			rear_single_remosaic_capture_mif = <0>;
			rear_single_remosaic_capture_icpu = <1>;

			rear_single_vt_isp = <6>;
			rear_single_vt_int_cam = <4>;
			rear_single_vt_mif = <8>;
			rear_single_vt_icpu = <1>;

			rear_single_wide_fastae_isp = <5>;
			rear_single_wide_fastae_int_cam = <4>;
			rear_single_wide_fastae_mif = <5>;
			rear_single_wide_fastae_icpu = <1>;

			rear_dual_wide_tele_photo_isp = <1>;
			rear_dual_wide_tele_photo_int_cam = <1>;
			rear_dual_wide_tele_photo_mif = <0>;
			rear_dual_wide_tele_photo_icpu = <0>;

			rear_dual_wide_tele_video_fhd30_isp = <1>;
			rear_dual_wide_tele_video_fhd30_int_cam = <1>;
			rear_dual_wide_tele_video_fhd30_mif = <0>;
			rear_dual_wide_tele_video_fhd30_icpu = <0>;

			rear_dual_wide_tele_video_fhd60_isp = <1>;
			rear_dual_wide_tele_video_fhd60_int_cam = <1>;
			rear_dual_wide_tele_video_fhd60_mif = <0>;
			rear_dual_wide_tele_video_fhd60_icpu = <0>;

			rear_dual_wide_tele_video_uhd30_isp = <1>;
			rear_dual_wide_tele_video_uhd30_int_cam = <1>;
			rear_dual_wide_tele_video_uhd30_mif = <0>;
			rear_dual_wide_tele_video_uhd30_icpu = <0>;

			rear_dual_wide_tele_video_uhd60_isp = <1>;
			rear_dual_wide_tele_video_uhd60_int_cam = <1>;
			rear_dual_wide_tele_video_uhd60_mif = <0>;
			rear_dual_wide_tele_video_uhd60_icpu = <0>;

			rear_dual_wide_tele_capture_cam = <0>;
			rear_dual_wide_tele_capture_isp = <1>;
			rear_dual_wide_tele_capture_int_cam = <1>;
			rear_dual_wide_tele_capture_mif = <0>;
			rear_dual_wide_tele_capture_icpu = <0>;

			rear_dual_wide_ultrawide_photo_isp = <6>;
			rear_dual_wide_ultrawide_photo_int_cam = <4>;
			rear_dual_wide_ultrawide_photo_mif = <5>;
			rear_dual_wide_ultrawide_photo_icpu = <1>;

			rear_dual_wide_ultrawide_video_fhd30_isp = <1>;
			rear_dual_wide_ultrawide_video_fhd30_int_cam = <1>;
			rear_dual_wide_ultrawide_video_fhd30_mif = <0>;
			rear_dual_wide_ultrawide_video_fhd30_icpu = <0>;

			rear_dual_wide_ultrawide_video_fhd60_isp = <1>;
			rear_dual_wide_ultrawide_video_fhd60_int_cam = <1>;
			rear_dual_wide_ultrawide_video_fhd60_mif = <0>;
			rear_dual_wide_ultrawide_video_fhd60_icpu = <0>;

			rear_dual_wide_ultrawide_video_uhd30_isp = <1>;
			rear_dual_wide_ultrawide_video_uhd30_int_cam = <1>;
			rear_dual_wide_ultrawide_video_uhd30_mif = <0>;
			rear_dual_wide_ultrawide_video_uhd30_icpu = <0>;

			rear_dual_wide_ultrawide_video_uhd60_isp = <1>;
			rear_dual_wide_ultrawide_video_uhd60_int_cam = <1>;
			rear_dual_wide_ultrawide_video_uhd60_mif = <0>;
			rear_dual_wide_ultrawide_video_uhd60_icpu = <0>;

			rear_dual_wide_ultrawide_capture_cam = <0>;
			rear_dual_wide_ultrawide_capture_isp = <1>;
			rear_dual_wide_ultrawide_capture_int_cam = <4>;
			rear_dual_wide_ultrawide_capture_mif = <0>;
			rear_dual_wide_ultrawide_capture_icpu = <1>;

			front_single_photo_isp = <6>;
			front_single_photo_int_cam = <4>;
			front_single_photo_mif = <8>;
			front_single_photo_icpu = <1>;

			front_single_photo_full_isp = <5>;
			front_single_photo_full_int_cam = <3>;
			front_single_photo_full_mif = <7>;
			front_single_photo_full_icpu = <1>;

			front_single_video_fhd30_isp = <6>;
			front_single_video_fhd30_int_cam = <4>;
			front_single_video_fhd30_mif = <8>;
			front_single_video_fhd30_icpu = <1>;

			front_single_video_uhd30_isp = <6>;
			front_single_video_uhd30_int_cam = <4>;
			front_single_video_uhd30_mif = <5>;
			front_single_video_uhd30_icpu = <1>;

			front_single_video_fhd60_isp = <6>;
			front_single_video_fhd60_int_cam = <4>;
			front_single_video_fhd60_mif = <5>;
			front_single_video_fhd60_icpu = <1>;

			front_single_video_uhd60_hf_isp = <1>;
			front_single_video_uhd60_hf_int_cam = <1>;
			front_single_video_uhd60_hf_mif = <0>;
			front_single_video_uhd60_hf_icpu = <0>;

			front_single_capture_cam = <0>;
			front_single_capture_isp = <0>;
			front_single_capture_int_cam = <4>;
			front_single_capture_mif = <0>;
			front_single_capture_icpu = <1>;

			front_single_remosaic_photo_isp = <0>;
			front_single_remosaic_photo_int_cam = <4>;
			front_single_remosaic_photo_mif = <0>;
			front_single_remosaic_photo_icpu = <1>;

			front_single_remosaic_capture_cam = <0>;
			front_single_remosaic_capture_isp = <0>;
			front_single_remosaic_capture_int_cam = <4>;
			front_single_remosaic_capture_mif = <0>;
			front_single_remosaic_capture_icpu = <1>;

			front_single_vt_isp = <6>;
			front_single_vt_int_cam = <4>;
			front_single_vt_mif = <8>;
			front_single_vt_icpu = <1>;

			front_single_fastae_cam = <6>;
			front_single_fastae_isp = <6>;
			front_single_fastae_int_cam = <4>;
			front_single_fastae_mif = <5>;
			front_single_fastae_icpu = <1>;

			front_single_video_fhd120_isp = <6>;
			front_single_video_fhd120_int_cam = <4>;
			front_single_video_fhd120_mif = <5>;
			front_single_video_fhd120_icpu = <1>;

			front_single_video_hd30_isp = <6>;
			front_single_video_hd30_int_cam = <4>;
			front_single_video_hd30_mif = <8>;
			front_single_video_hd30_icpu = <1>;

			front_single_video_hd120_isp = <6>;
			front_single_video_hd120_int_cam = <4>;
			front_single_video_hd120_mif = <5>;
			front_single_video_hd120_icpu = <1>;

			pip_dual_photo_isp = <6>;
			pip_dual_photo_int_cam = <4>;
			pip_dual_photo_mif = <5>;
			pip_dual_photo_icpu = <1>;

			pip_dual_capture_cam = <0>;
			pip_dual_capture_isp = <0>;
			pip_dual_capture_int_cam = <4>;
			pip_dual_capture_mif = <0>;
			pip_dual_capture_icpu = <1>;

			pip_dual_video_fhd30_csis = <1>;
			pip_dual_video_fhd30_isp = <5>;
			pip_dual_video_fhd30_int_cam = <1>;
			pip_dual_video_fhd30_mif = <5>;
			pip_dual_video_fhd30_icpu = <0>;

			sensor_only_rear_single_cam = <1>;
			sensor_only_rear_single_isp = <1>;
			sensor_only_rear_single_int_cam = <1>;
			sensor_only_rear_single_mif = <1>;
			sensor_only_rear_single_icpu = <0>;

			sensor_only_front_cam = <1>;
			sensor_only_front_isp = <1>;
			sensor_only_front_int_cam = <1>;
			sensor_only_front_mif = <1>;
			sensor_only_front_icpu = <0>;

			throttling_cam = <0>;
			throttling_isp = <0>;
			throttling_int_cam = <0>;
			throttling_mif = <0>;
			throttling_icpu = <0>;

			max_csis = <1>;
			max_cam = <1>;
			max_isp = <1>;
			max_int_cam = <1>;
			max_mif = <1>;
			max_icpu = <0>;
		};
	};
};
